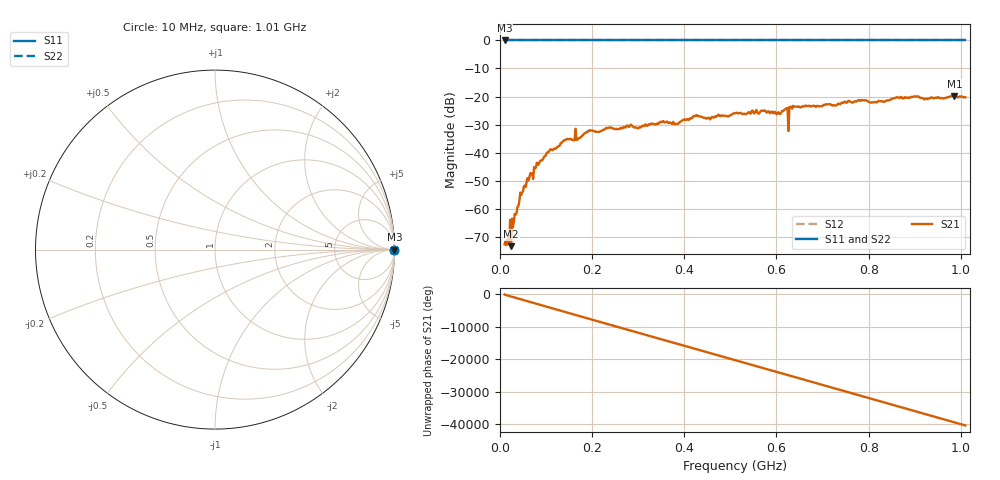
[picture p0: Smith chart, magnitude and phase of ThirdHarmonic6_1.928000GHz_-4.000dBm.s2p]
! 8/16/2025 11:14:14 PM
! C:\ANRITSUVNA\TEMP\TEMP.S2P
! CHANNEL.1
! TR.MEASUREMENT
! RAW.DATA
! RF.CORRECTION.OFF
! AVERAGING.OFF
! IF.BANDWIDTH: 5KHZ
! SWEEPTYPE:  FREQ.SWEEP(Linear)
! Reference Plane Port Info
! PORT:  PORT1  PORT2
! DISTANCE:  0  m  0  m
! TIME:  0  s  0  s
! PHASE.OFFSET:  0  deg.  0  deg.
! LOSS:  0  dB  0  dB
! REF.LOSS:  0  dB  0  dB
! REF.FREQ:  0  Hz  0  Hz
! Power Info
! POWER:  -20  dBm  -20  dBm
! EFF.POWER:  -20  dBm  -20  dBm
! SOURCE.ATTEN:  0  dB  0  dB
! TEST.ATTEN:  0  dB  0  dB
# GHZ S RI R 50.0
! FREQ.GHZ  S11RE  S11IM  S21RE  S21IM  S12RE  S12IM  S22RE  S22IM
!; PortSelection: Port_12
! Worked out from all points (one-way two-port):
!   501 points, 10 MHz to 1.01 GHz, reference 50 ohm
!   highest |S21| = -19.82 dB at 986 MHz (marker M1); lowest = -73.4 dB at 24 MHz (marker M2)
!   lowest |S11| = 0.0 dB at 10 MHz (marker M3)
!   |S11| at or under -10 dB: nowhere
!   |S22| runs from 0.0 to 0.0 dB; largest |S21 - S12| = 1.1
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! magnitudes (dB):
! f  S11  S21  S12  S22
! 10 MHz  0.0  -72.7  0.0  0.0
! 16 MHz  0.0  -71.0  0.0  0.0
! 24 MHz  0.0  -73.4  0.0  0.0
! 48 MHz  0.0  -54.3  0.0  0.0
! 78 MHz  0.0  -45.3  0.0  0.0
! 106 MHz  0.0  -39.7  0.0  0.0
! 140 MHz  0.0  -35.5  0.0  0.0
! 178 MHz  0.0  -34.1  0.0  0.0
! 194 MHz  0.0  -32.0  0.0  0.0
! 344 MHz  0.0  -29.7  0.0  0.0
! 382 MHz  0.0  -29.7  0.0  0.0
! 424 MHz  0.0  -27.0  0.0  0.0
! 510 MHz  0.0  -26.0  0.0  0.0
! 604 MHz  0.0  -25.6  0.0  0.0
! 620 MHz  0.0  -24.4  0.0  0.0
! 622 MHz  0.0  -24.2  0.0  0.0
! 630 MHz  0.0  -23.7  0.0  0.0
! 632 MHz  0.0  -23.7  0.0  0.0
! 678 MHz  0.0  -23.4  0.0  0.0
! 844 MHz  0.0  -21.4  0.0  0.0
! 986 MHz  0.0  -19.8  0.0  0.0
! 1.01 GHz  0.0  -20.2  0.0  0.0
